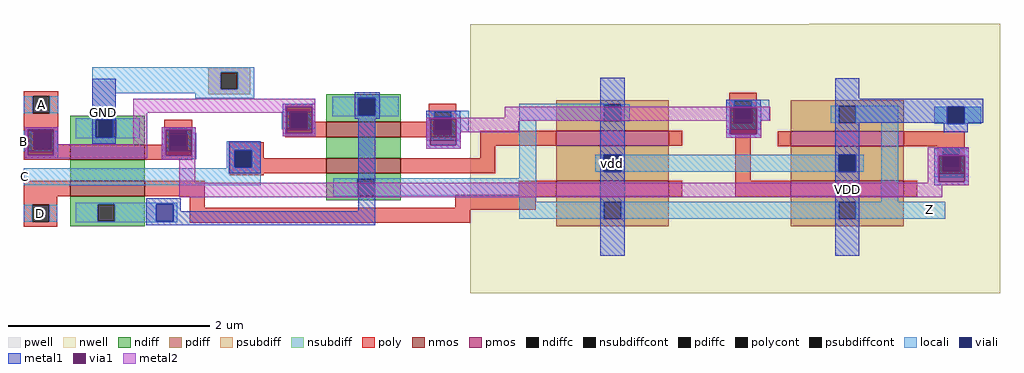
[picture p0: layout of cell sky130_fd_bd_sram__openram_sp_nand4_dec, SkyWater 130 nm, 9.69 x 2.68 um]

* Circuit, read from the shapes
.subckt sky130_fd_bd_sram__openram_sp_nand4_dec A B C D GND VDD Z
XM1 n1 D n2 GND sky130_fd_pr__nfet_01v8 w=0.74 l=0.15
XM2 GND A n1 GND sky130_fd_pr__nfet_01v8 w=0.74 l=0.15
XM3 n3 C Z GND sky130_fd_pr__nfet_01v8 w=0.74 l=0.15
XM4 n2 B n3 GND sky130_fd_pr__nfet_01v8 w=0.74 l=0.15
XM5 VDD D Z VDD sky130_fd_pr__pfet_01v8 w=1.12 l=0.15
XM6 Z C VDD VDD sky130_fd_pr__pfet_01v8 w=1.12 l=0.15
XM7 VDD B Z VDD sky130_fd_pr__pfet_01v8 w=1.12 l=0.15
XM8 Z A VDD VDD sky130_fd_pr__pfet_01v8 w=1.12 l=0.15
.ends

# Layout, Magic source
magic
tech sky130A
magscale 1 2
<< nwell >>
rect 1558 428 1937 429
rect 886 -106 1937 428
<< pwell >>
rect 366 289 449 343
<< nmos >>
rect 92 159 240 189
rect 600 204 748 234
rect 600 132 748 162
rect 92 87 240 117
<< pmos >>
rect 1056 187 1280 217
rect 1522 186 1746 216
rect 1056 87 1280 117
rect 1522 87 1746 117
<< ndiff >>
rect 600 281 748 289
rect 92 238 240 246
rect 92 204 149 238
rect 183 204 240 238
rect 92 189 240 204
rect 600 247 663 281
rect 697 247 748 281
rect 600 234 748 247
rect 92 117 240 159
rect 600 162 748 204
rect 600 121 748 132
rect 92 71 240 87
rect 92 37 146 71
rect 180 37 240 71
rect 92 27 240 37
rect 600 87 661 121
rect 695 87 748 121
rect 600 79 748 87
<< pdiff >>
rect 1056 269 1280 277
rect 1056 235 1151 269
rect 1185 235 1280 269
rect 1056 217 1280 235
rect 1522 266 1746 277
rect 1522 232 1617 266
rect 1651 232 1746 266
rect 1522 216 1746 232
rect 1056 169 1280 187
rect 1056 135 1151 169
rect 1185 135 1280 169
rect 1056 117 1280 135
rect 1522 169 1746 186
rect 1522 135 1617 169
rect 1651 135 1746 169
rect 1522 117 1746 135
rect 1056 76 1280 87
rect 1056 42 1151 76
rect 1185 42 1280 76
rect 1056 27 1280 42
rect 1522 76 1746 87
rect 1522 42 1617 76
rect 1651 42 1746 76
rect 1522 27 1746 42
<< ndiffc >>
rect 149 204 183 238
rect 663 247 697 281
rect 146 37 180 71
rect 661 87 695 121
<< pdiffc >>
rect 1151 235 1185 269
rect 1617 232 1651 266
rect 1151 135 1185 169
rect 1617 135 1651 169
rect 1151 42 1185 76
rect 1617 42 1651 76
<< psubdiff >>
rect 366 333 449 343
rect 366 299 390 333
rect 424 299 449 333
rect 366 289 449 299
<< nsubdiff >>
rect 1807 230 1833 264
rect 1867 230 1900 264
<< psubdiffcont >>
rect 390 299 424 333
<< nsubdiffcont >>
rect 1833 230 1867 264
<< poly >>
rect 0 285 68 295
rect 0 251 17 285
rect 51 251 68 285
rect 0 189 68 251
rect 518 254 572 270
rect 278 222 334 238
rect 278 190 289 222
rect 273 189 289 190
rect 0 159 92 189
rect 240 188 289 189
rect 323 188 334 222
rect 518 220 528 254
rect 562 234 572 254
rect 803 254 858 270
rect 803 234 814 254
rect 562 220 600 234
rect 518 204 600 220
rect 748 220 814 234
rect 848 220 858 254
rect 748 204 858 220
rect 1400 276 1454 292
rect 1400 242 1410 276
rect 1444 242 1454 276
rect 240 159 334 188
rect 408 178 476 194
rect 408 144 418 178
rect 452 162 476 178
rect 905 187 1056 217
rect 1280 187 1306 217
rect 1400 210 1454 242
rect 905 162 935 187
rect 452 144 600 162
rect 408 132 600 144
rect 748 132 935 162
rect 408 128 476 132
rect 0 87 92 117
rect 240 87 359 117
rect 0 70 66 87
rect 0 36 16 70
rect 50 36 66 70
rect 0 26 66 36
rect 329 64 359 87
rect 1412 117 1442 210
rect 1496 186 1522 216
rect 1746 186 1867 216
rect 1813 181 1867 186
rect 1813 147 1823 181
rect 1857 147 1867 181
rect 1813 131 1867 147
rect 982 90 1056 117
rect 856 87 1056 90
rect 1280 87 1306 117
rect 1412 87 1522 117
rect 1746 87 1773 117
rect 856 64 1016 87
rect 329 60 1016 64
rect 329 34 886 60
<< polycont >>
rect 17 251 51 285
rect 289 188 323 222
rect 528 220 562 254
rect 814 220 848 254
rect 1410 242 1444 276
rect 418 144 452 178
rect 16 36 50 70
rect 1823 147 1857 181
<< locali >>
rect 135 333 457 343
rect 135 299 390 333
rect 424 299 457 333
rect 135 291 457 299
rect 0 251 17 285
rect 51 251 68 285
rect 135 241 182 291
rect 340 281 457 291
rect 612 281 744 284
rect 103 238 230 241
rect 0 214 66 217
rect 0 180 20 214
rect 54 180 66 214
rect 103 204 142 238
rect 183 204 230 238
rect 103 202 230 204
rect 273 222 341 224
rect 0 176 66 180
rect 273 177 289 222
rect 323 177 341 222
rect 512 220 528 254
rect 562 220 578 254
rect 612 247 663 281
rect 697 247 744 281
rect 1394 276 1479 278
rect 983 269 1159 270
rect 612 245 744 247
rect 798 254 883 256
rect 798 209 814 254
rect 848 214 883 254
rect 983 236 1151 269
rect 848 209 866 214
rect 798 197 866 209
rect 273 176 341 177
rect 402 178 470 196
rect 402 144 418 178
rect 452 144 470 178
rect 402 142 470 144
rect 0 108 470 142
rect 983 122 1017 236
rect 1134 235 1151 236
rect 1185 235 1202 269
rect 1394 231 1410 276
rect 1444 236 1479 276
rect 1444 231 1462 236
rect 1601 232 1617 266
rect 1651 232 1735 266
rect 1394 219 1462 231
rect 1134 135 1151 169
rect 1185 135 1617 169
rect 1651 135 1667 169
rect 614 121 1017 122
rect 614 87 661 121
rect 695 88 1017 121
rect 695 87 748 88
rect 983 76 1017 88
rect 1701 76 1735 232
rect 1807 230 1832 264
rect 1867 230 1900 264
rect 1807 181 1875 183
rect 1807 136 1823 181
rect 1857 136 1875 181
rect 1807 124 1875 136
rect 103 71 304 74
rect 0 36 16 70
rect 50 36 66 70
rect 103 37 146 71
rect 180 37 262 71
rect 296 37 304 71
rect 983 42 1151 76
rect 1185 42 1617 76
rect 1651 42 1828 76
rect 103 35 304 37
<< viali >>
rect 20 180 54 214
rect 142 204 149 238
rect 149 204 176 238
rect 289 188 323 211
rect 289 177 323 188
rect 528 220 562 254
rect 663 247 697 281
rect 814 220 848 243
rect 814 209 848 220
rect 418 144 452 178
rect 1410 242 1444 265
rect 1410 231 1444 242
rect 1151 135 1185 169
rect 1617 135 1651 169
rect 1832 230 1833 264
rect 1833 230 1866 264
rect 1823 147 1857 170
rect 1823 136 1857 147
rect 262 37 296 71
<< metal1 >>
rect 135 238 182 320
rect 656 281 706 293
rect 1 220 68 224
rect 1 168 7 220
rect 59 168 68 220
rect 135 204 142 238
rect 176 204 182 238
rect 514 264 578 270
rect 135 191 182 204
rect 273 219 341 224
rect 1 162 68 168
rect 273 167 281 219
rect 333 212 341 219
rect 514 212 520 264
rect 572 212 578 264
rect 656 247 663 281
rect 697 247 706 281
rect 656 240 706 247
rect 798 244 866 256
rect 798 243 867 244
rect 798 240 814 243
rect 848 240 867 243
rect 333 167 342 212
rect 514 206 578 212
rect 273 160 342 167
rect 406 178 470 196
rect 406 144 418 178
rect 452 144 470 178
rect 406 132 470 144
rect 243 71 311 83
rect 243 37 262 71
rect 296 57 311 71
rect 663 57 697 240
rect 798 188 806 240
rect 858 188 867 240
rect 798 181 867 188
rect 296 37 697 57
rect 243 29 697 37
rect 1144 169 1192 322
rect 1610 280 1658 321
rect 1394 266 1462 278
rect 1394 265 1463 266
rect 1394 262 1410 265
rect 1444 262 1463 265
rect 1394 210 1402 262
rect 1454 210 1463 262
rect 1394 203 1463 210
rect 1610 264 1904 280
rect 1610 232 1832 264
rect 1144 135 1151 169
rect 1185 135 1192 169
rect 1144 -32 1192 135
rect 1610 169 1658 232
rect 1825 230 1832 232
rect 1866 232 1904 264
rect 1866 230 1873 232
rect 1825 214 1873 230
rect 1610 135 1617 169
rect 1651 135 1658 169
rect 1610 -32 1658 135
rect 1807 170 1875 183
rect 1807 167 1823 170
rect 1857 167 1875 170
rect 1807 115 1815 167
rect 1867 115 1875 167
rect 1807 108 1875 115
<< via1 >>
rect 7 214 59 220
rect 7 180 20 214
rect 20 180 54 214
rect 54 180 59 214
rect 7 168 59 180
rect 281 211 333 219
rect 520 254 572 264
rect 520 220 528 254
rect 528 220 562 254
rect 562 220 572 254
rect 520 212 572 220
rect 281 177 289 211
rect 289 177 323 211
rect 323 177 333 211
rect 281 167 333 177
rect 806 209 814 240
rect 814 209 848 240
rect 848 209 858 240
rect 806 188 858 209
rect 1402 231 1410 262
rect 1410 231 1444 262
rect 1444 231 1454 262
rect 1402 210 1454 231
rect 1815 136 1823 167
rect 1823 136 1857 167
rect 1857 136 1867 167
rect 1815 115 1867 136
<< metal2 >>
rect 217 264 578 280
rect 217 252 520 264
rect 1 220 68 224
rect 1 168 7 220
rect 59 190 68 220
rect 217 190 245 252
rect 59 168 245 190
rect 1 162 245 168
rect 273 219 341 224
rect 273 167 281 219
rect 333 196 341 219
rect 514 212 520 252
rect 572 212 578 264
rect 954 262 1481 264
rect 954 242 1402 262
rect 514 206 578 212
rect 798 240 1402 242
rect 333 167 340 196
rect 798 188 806 240
rect 858 236 1402 240
rect 858 214 982 236
rect 858 188 867 214
rect 1394 210 1402 236
rect 1454 236 1481 262
rect 1454 210 1463 236
rect 1394 203 1463 210
rect 798 181 867 188
rect 273 159 340 167
rect 308 113 340 159
rect 1794 167 1875 184
rect 1794 115 1815 167
rect 1867 115 1875 167
rect 1794 113 1875 115
rect 308 108 1875 113
rect 308 85 1822 108
<< labels >>
rlabel metal1 s 135 185 182 320 4 GND
rlabel metal1 s 1610 -32 1658 231 4 VDD
rlabel metal1 s 158 252 158 252 4 gnd
rlabel polycont 34 268 34 268 1 A
rlabel locali 0 196 0 196 3 B
rlabel locali 1 126 1 126 3 C
rlabel polycont 33 53 33 53 1 D
rlabel metal1 s 1634 126 1634 126 4 vdd
rlabel metal1 s 1634 100 1634 100 4 vdd
rlabel locali 1798 60 1798 60 1 Z
rlabel metal1 s 1168 151 1168 151 4 vdd
<< properties >>
string FIXED_BBOX 0 0 1937 316
<< end >>
